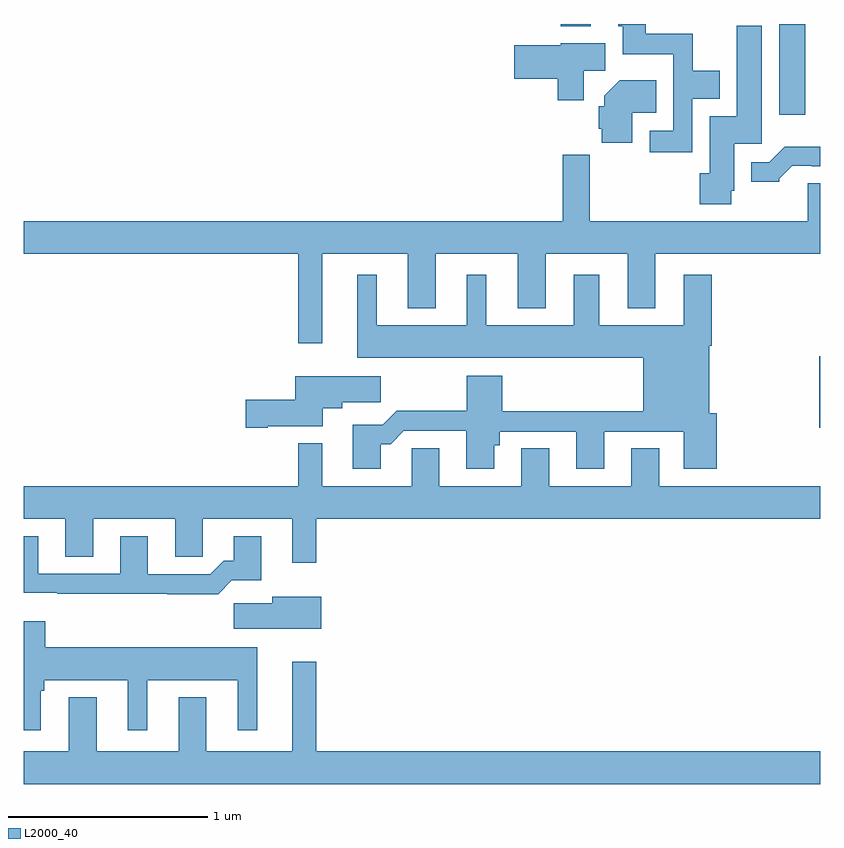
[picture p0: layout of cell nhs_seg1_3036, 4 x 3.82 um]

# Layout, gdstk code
import gdstk
lib = gdstk.Library(unit=1e-6, precision=1e-09)
def R(c, l, rs):  # rectangles x0, y0, x1, y1
    for r in rs: c.add(gdstk.rectangle(r[:2], r[2:], *l))
def P(c, l, *ps):  # polygons
    for p in ps: c.add(gdstk.Polygon(p, *l))
L2000_40 = (2000, 40)

nhs_seg1_3036 = lib.new_cell('nhs_seg1_3036')
R(nhs_seg1_3036, L2000_40, [(278.996,572.169,279,572.53), (278.795,573.744,278.926,574.199), (277.697,574.187,277.849,574.199)])
P(nhs_seg1_3036, L2000_40, [(278.358,573.824),(278.497,573.824),(278.497,573.964),(278.361,573.964),(278.361,574.15),(278.125,574.15),(278.125,574.199),(277.985,574.199),(277.985,574.188),(278.009,574.188),(278.009,574.046),(278.262,574.046),(278.262,573.663),(278.145,573.663),(278.145,573.555),(278.358,573.555)],
  [(278.553,573.36),(278.569,573.36),(278.569,573.597),(278.707,573.597),(278.707,574.189),(278.582,574.189),(278.582,573.736),(278.447,573.736),(278.447,573.45),(278.396,573.45),(278.396,573.294),(278.553,573.294)],
  [(277.814,573.964),(277.921,573.964),(277.921,574.102),(277.698,574.102),(277.698,574.093),(277.464,574.093),(277.464,573.923),(277.682,573.923),(277.682,573.816),(277.814,573.816)],
  [(278.056,573.752),(278.177,573.752),(278.177,573.916),(277.994,573.916),(277.916,573.838),(277.916,573.786),(277.889,573.786),(277.889,573.672),(277.904,573.672),(277.904,573.602),(278.056,573.602)],
  [(278.796,573.422),(278.86,573.486),(278.959,573.486),(278.959,573.483),(279,573.483),(279,573.583),(278.824,573.583),(278.745,573.504),(278.654,573.504),(278.654,573.407),(278.796,573.407)],
  [(276.499,573.044),(276.929,573.044),(276.929,572.771),(277.069,572.771),(277.069,573.044),(277.481,573.044),(277.481,572.771),(277.621,572.771),(277.621,573.044),(278.033,573.044),(278.033,572.771),(278.173,572.771),(278.173,573.044),(279,573.044),(279,573.398),(278.939,573.398),(278.939,573.208),(277.844,573.208),(277.844,573.541),(277.708,573.541),(277.708,573.208),(275,573.208),(275,573.044),(276.378,573.044),(276.378,572.595),(276.499,572.595)],
  [(276.793,572.087),(276.842,572.087),(276.909,572.154),(277.223,572.154),(277.223,571.965),(277.363,571.965),(277.363,572.082),(277.39,572.082),(277.39,572.151),(277.775,572.151),(277.775,571.965),(277.915,571.965),(277.915,572.151),(278.315,572.151),(278.315,571.965),(278.48,571.965),(278.48,572.244),(278.443,572.244),(278.443,572.582),(278.456,572.582),(278.456,572.938),(278.315,572.938),(278.315,572.686),(277.891,572.686),(277.891,572.938),(277.763,572.938),(277.763,572.686),(277.324,572.686),(277.324,572.938),(277.226,572.938),(277.226,572.686),(276.772,572.686),(276.772,572.938),(276.674,572.938),(276.674,572.522),(278.111,572.522),(278.111,572.252),(277.403,572.252),(277.403,572.431),(277.225,572.431),(277.225,572.255),(276.872,572.255),(276.802,572.185),(276.653,572.185),(276.653,571.965),(276.793,571.965)],
  [(276.226,572.177),(276.502,572.177),(276.502,572.267),(276.598,572.267),(276.598,572.299),(276.793,572.299),(276.793,572.428),(276.362,572.428),(276.362,572.312),(276.114,572.312),(276.114,572.17),(276.226,572.17)],
  [(276.469,571.712),(279,571.712),(279,571.876),(278.191,571.876),(278.191,572.066),(278.051,572.066),(278.051,571.876),(277.639,571.876),(277.639,572.066),(277.499,572.066),(277.499,571.876),(277.087,571.876),(277.087,572.066),(276.948,572.066),(276.948,571.876),(276.499,571.876),(276.499,572.092),(276.378,572.092),(276.378,571.876),(275,571.876),(275,571.712),(275.207,571.712),(275.207,571.522),(275.347,571.522),(275.347,571.712),(275.759,571.712),(275.759,571.522),(275.898,571.522),(275.898,571.712),(276.347,571.712),(276.347,571.491),(276.469,571.491)],
  [(276.044,571.403),(276.193,571.403),(276.193,571.624),(276.053,571.624),(276.053,571.501),(276.004,571.501),(275.937,571.434),(275.623,571.434),(275.623,571.624),(275.483,571.624),(275.483,571.437),(275.071,571.437),(275.071,571.624),(275,571.624),(275,571.34),(275.167,571.34),(275.167,571.336),(275.719,571.336),(275.719,571.334),(275.975,571.334)],
  [(276.493,571.321),(276.248,571.321),(276.248,571.289),(276.054,571.289),(276.054,571.16),(276.493,571.16)],
  [(275.083,570.849),(275.103,570.849),(275.103,570.902),(275.522,570.902),(275.522,570.651),(275.62,570.651),(275.62,570.902),(276.074,570.902),(276.074,570.651),(276.172,570.651),(276.172,571.066),(275.108,571.066),(275.108,571.198),(275,571.198),(275,570.651),(275.083,570.651)],
  [(279,570.544),(276.469,570.544),(276.469,570.994),(276.347,570.994),(276.347,570.544),(275.917,570.544),(275.917,570.817),(275.777,570.817),(275.777,570.544),(275.365,570.544),(275.365,570.817),(275.225,570.817),(275.225,570.544),(275,570.544),(275,570.38),(279,570.38)])

lib.write_gds('nhs_seg1_3036.gds')
